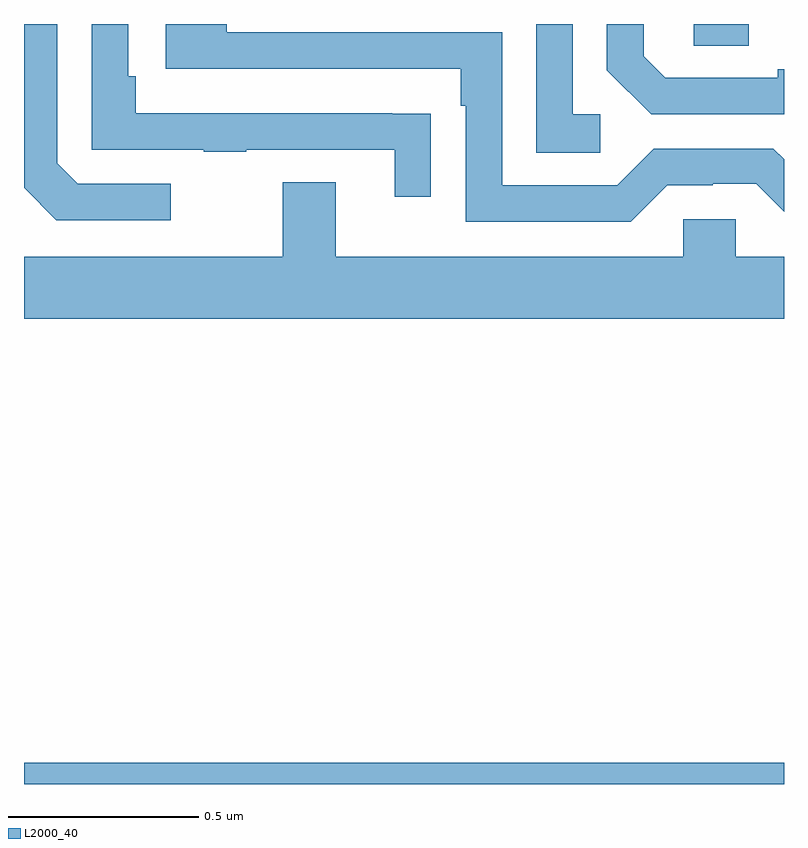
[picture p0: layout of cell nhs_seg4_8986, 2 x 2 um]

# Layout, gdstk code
import gdstk
lib = gdstk.Library(unit=1e-6, precision=1e-09)
def R(c, l, rs):  # rectangles x0, y0, x1, y1
    for r in rs: c.add(gdstk.rectangle(r[:2], r[2:], *l))
def P(c, l, *ps):  # polygons
    for p in ps: c.add(gdstk.Polygon(p, *l))
L2000_40 = (2000, 40)

nhs_seg4_8986 = lib.new_cell('nhs_seg4_8986')
R(nhs_seg4_8986, L2000_40, [(221,824.9,223,824.956), (222.762,826.843,222.907,826.9)])
P(nhs_seg4_8986, L2000_40, [(221.386,826.479),(221.142,826.479),(221.088,826.533),(221.088,826.9),(221,826.9),(221,826.469),(221.085,826.383),(221.386,826.383)],
  [(223,826.781),(222.983,826.781),(222.983,826.758),(222.688,826.758),(222.631,826.815),(222.631,826.9),(222.534,826.9),(222.534,826.778),(222.65,826.662),(223,826.662)],
  [(222.517,826.662),(222.444,826.662),(222.444,826.9),(222.348,826.9),(222.348,826.561),(222.517,826.561)],
  [(222.071,826.664),(221.969,826.664),(221.969,826.665),(221.294,826.665),(221.294,826.762),(221.274,826.762),(221.274,826.9),(221.178,826.9),(221.178,826.569),(221.473,826.569),(221.473,826.564),(221.585,826.564),(221.585,826.569),(221.975,826.569),(221.975,826.446),(222.071,826.446)],
  [(222.693,826.476),(222.812,826.476),(222.812,826.479),(222.927,826.479),(223,826.406),(223,826.544),(222.972,826.572),(222.657,826.572),(222.561,826.476),(222.258,826.476),(222.258,826.878),(221.534,826.878),(221.534,826.9),(221.373,826.9),(221.373,826.782),(222.149,826.782),(222.149,826.685),(222.162,826.685),(222.162,826.38),(222.597,826.38)],
  [(223,826.288),(222.873,826.288),(222.873,826.386),(222.735,826.386),(222.735,826.288),(221.821,826.288),(221.821,826.483),(221.681,826.483),(221.681,826.288),(221,826.288),(221,826.124),(223,826.124)])

lib.write_gds('nhs_seg4_8986.gds')
